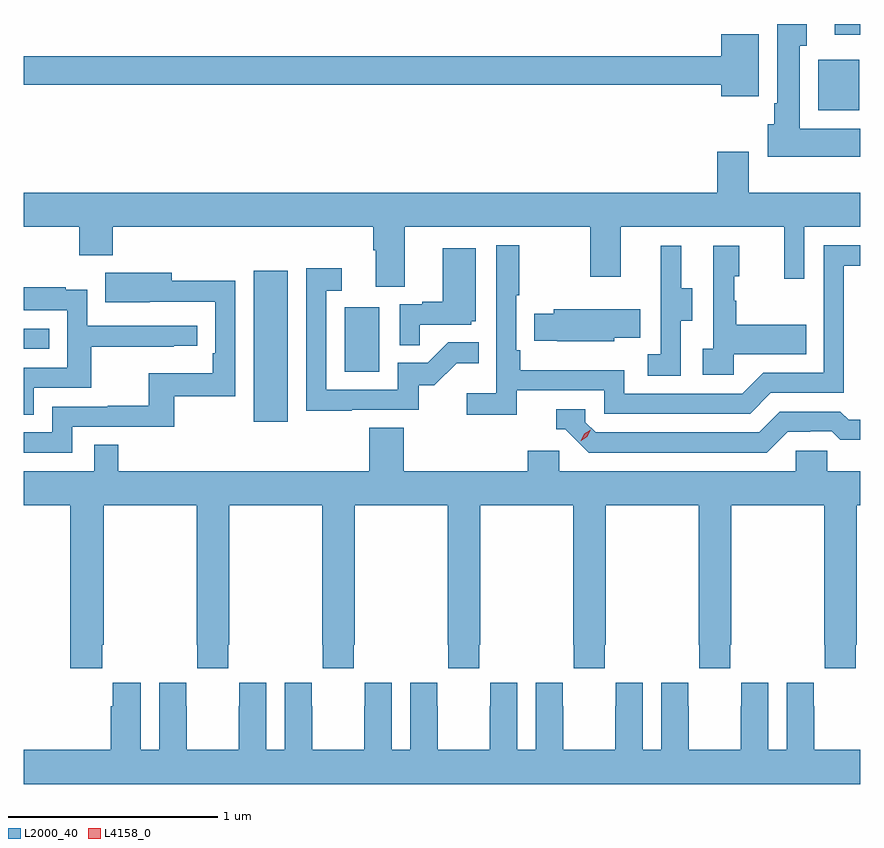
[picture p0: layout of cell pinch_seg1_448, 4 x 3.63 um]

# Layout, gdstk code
import gdstk
lib = gdstk.Library(unit=1e-6, precision=1e-09)
def R(c, l, rs):  # rectangles x0, y0, x1, y1
    for r in rs: c.add(gdstk.rectangle(r[:2], r[2:], *l))
def P(c, l, *ps):  # polygons
    for p in ps: c.add(gdstk.Polygon(p, *l))
L2000_40 = (2000, 40)
L4158_0 = (4158, 0)

pinch_seg1_448 = lib.new_cell('pinch_seg1_448')
R(pinch_seg1_448, L2000_40, [(993.833,512.172,993.994,512.893), (994.268,512.412,994.432,512.719), (992.732,512.52,992.855,512.616), (996.53,513.662,996.727,513.904), (996.611,514.022,996.732,514.074)])
P(pinch_seg1_448, L2000_40, [(996.732,513.574),(996.442,513.574),(996.442,513.971),(996.475,513.971),(996.475,514.074),(996.335,514.074),(996.335,513.694),(996.32,513.694),(996.32,513.594),(996.29,513.594),(996.29,513.44),(996.732,513.44)],
  [(996.247,514.024),(996.068,514.024),(996.068,513.92),(992.732,513.92),(992.732,513.784),(996.068,513.784),(996.068,513.728),(996.247,513.728)],
  [(994.555,513.104),(995.44,513.104),(995.44,512.865),(995.587,512.865),(995.587,513.104),(996.368,513.104),(996.368,512.856),(996.465,512.856),(996.465,513.104),(996.732,513.104),(996.732,513.268),(996.199,513.268),(996.199,513.463),(996.047,513.463),(996.047,513.268),(992.732,513.268),(992.732,513.104),(992.998,513.104),(992.998,512.969),(993.158,512.969),(993.158,513.104),(994.403,513.104),(994.403,512.992),(994.415,512.992),(994.415,512.818),(994.555,512.818)],
  [(995.09,512.322),(995.508,512.322),(995.508,512.211),(996.205,512.211),(996.304,512.31),(996.654,512.31),(996.654,512.919),(996.732,512.919),(996.732,513.015),(996.558,513.015),(996.558,512.406),(996.267,512.406),(996.168,512.307),(995.604,512.307),(995.604,512.419),(995.105,512.419),(995.105,512.515),(995.088,512.515),(995.088,512.776),(995.101,512.776),(995.101,513.016),(994.992,513.016),(994.992,512.308),(994.851,512.308),(994.851,512.206),(995.09,512.206)],
  [(996.126,512.495),(996.473,512.495),(996.473,512.635),(996.139,512.635),(996.139,512.75),(996.129,512.75),(996.129,512.868),(996.154,512.868),(996.154,513.013),(996.03,513.013),(996.03,512.522),(995.979,512.522),(995.979,512.397),(996.126,512.397)],
  [(995.874,512.656),(995.929,512.656),(995.929,512.811),(995.875,512.811),(995.875,513.013),(995.777,513.013),(995.777,512.799),(995.778,512.799),(995.778,512.495),(995.715,512.495),(995.715,512.392),(995.874,512.392)],
  [(994.625,512.637),(994.872,512.637),(994.872,512.652),(994.894,512.652),(994.894,513.001),(994.736,513.001),(994.736,512.746),(994.637,512.746),(994.637,512.733),(994.53,512.733),(994.53,512.539),(994.625,512.539)],
  [(994.301,512.229),(994.62,512.229),(994.62,512.346),(994.696,512.346),(994.803,512.453),(994.907,512.453),(994.907,512.552),(994.763,512.552),(994.665,512.454),(994.521,512.454),(994.521,512.325),(994.179,512.325),(994.179,512.799),(994.252,512.799),(994.252,512.905),(994.083,512.905),(994.083,512.224),(994.301,512.224)],
  [(992.964,512.148),(993.451,512.148),(993.451,512.295),(993.744,512.295),(993.744,512.846),(993.439,512.846),(993.439,512.884),(993.121,512.884),(993.121,512.744),(993.335,512.744),(993.335,512.745),(993.648,512.745),(993.648,512.5),(993.635,512.5),(993.635,512.404),(993.33,512.404),(993.33,512.249),(993.133,512.249),(993.133,512.244),(992.868,512.244),(992.868,512.121),(992.732,512.121),(992.732,512.025),(992.964,512.025)],
  [(992.779,512.334),(993.056,512.334),(993.056,512.53),(993.449,512.53),(993.449,512.535),(993.562,512.535),(993.562,512.631),(993.036,512.631),(993.036,512.803),(992.933,512.803),(992.933,512.815),(992.732,512.815),(992.732,512.706),(992.94,512.706),(992.94,512.43),(992.732,512.43),(992.732,512.206),(992.779,512.206)],
  [(995.556,512.573),(995.681,512.573),(995.681,512.71),(995.267,512.71),(995.267,512.688),(995.173,512.688),(995.173,512.559),(995.284,512.559),(995.284,512.558),(995.556,512.558)],
  [(996.385,512.124),(996.492,512.124),(996.492,512.127),(996.595,512.127),(996.637,512.085),(996.732,512.085),(996.732,512.181),(996.676,512.181),(996.637,512.22),(996.348,512.22),(996.249,512.121),(995.466,512.121),(995.418,512.169),(995.418,512.232),(995.279,512.232),(995.279,512.136),(995.322,512.136),(995.433,512.025),(996.286,512.025)],
  [(993.107,511.105),(993.114,511.105),(993.114,511.772),(993.559,511.772),(993.559,511.105),(993.561,511.105),(993.561,510.993),(993.711,510.993),(993.711,511.105),(993.714,511.105),(993.714,511.772),(994.159,511.772),(994.159,511.105),(994.161,511.105),(994.161,510.993),(994.311,510.993),(994.311,511.105),(994.314,511.105),(994.314,511.772),(994.759,511.772),(994.759,511.105),(994.761,511.105),(994.761,510.993),(994.911,510.993),(994.911,511.105),(994.914,511.105),(994.914,511.772),(995.359,511.772),(995.359,511.105),(995.361,511.105),(995.361,510.993),(995.511,510.993),(995.511,511.105),(995.514,511.105),(995.514,511.772),(995.959,511.772),(995.959,511.105),(995.961,511.105),(995.961,510.993),(996.111,510.993),(996.111,511.105),(996.114,511.105),(996.114,511.772),(996.559,511.772),(996.559,511.105),(996.561,511.105),(996.561,510.993),(996.711,510.993),(996.711,511.105),(996.714,511.105),(996.714,511.772),(996.732,511.772),(996.732,511.936),(996.573,511.936),(996.573,512.034),(996.423,512.034),(996.423,511.936),(995.292,511.936),(995.292,512.034),(995.141,512.034),(995.141,511.936),(994.55,511.936),(994.55,512.144),(994.385,512.144),(994.385,511.936),(993.185,511.936),(993.185,512.063),(993.069,512.063),(993.069,511.936),(992.732,511.936),(992.732,511.772),(992.954,511.772),(992.954,510.993),(993.107,510.993)],
  [(995.18,510.925),(995.18,510.604),(995.092,510.604),(995.092,510.925),(994.962,510.925),(994.962,510.812),(994.961,510.812),(994.961,510.604),(994.711,510.604),(994.711,510.812),(994.71,510.812),(994.71,510.925),(994.58,510.925),(994.58,510.604),(994.492,510.604),(994.492,510.925),(994.362,510.925),(994.362,510.812),(994.361,510.812),(994.361,510.604),(994.111,510.604),(994.111,510.812),(994.11,510.812),(994.11,510.925),(993.98,510.925),(993.98,510.604),(993.892,510.604),(993.892,510.925),(993.762,510.925),(993.762,510.812),(993.761,510.812),(993.761,510.604),(993.511,510.604),(993.511,510.812),(993.51,510.812),(993.51,510.925),(993.38,510.925),(993.38,510.604),(993.292,510.604),(993.292,510.925),(993.158,510.925),(993.158,510.812),(993.149,510.812),(993.149,510.604),(992.732,510.604),(992.732,510.44),(996.732,510.44),(996.732,510.604),(996.511,510.604),(996.511,510.812),(996.51,510.812),(996.51,510.925),(996.38,510.925),(996.38,510.604),(996.292,510.604),(996.292,510.925),(996.162,510.925),(996.162,510.812),(996.161,510.812),(996.161,510.604),(995.911,510.604),(995.911,510.812),(995.91,510.812),(995.91,510.925),(995.78,510.925),(995.78,510.604),(995.692,510.604),(995.692,510.925),(995.562,510.925),(995.562,510.812),(995.561,510.812),(995.561,510.604),(995.311,510.604),(995.311,510.812),(995.31,510.812),(995.31,510.925)])
P(pinch_seg1_448, L4158_0, [(995.396,512.082),(995.396,512.082),(995.413,512.114),(995.443,512.133),(995.444,512.133),(995.444,512.133),(995.427,512.101),(995.397,512.082)])

lib.write_gds('pinch_seg1_448.gds')
